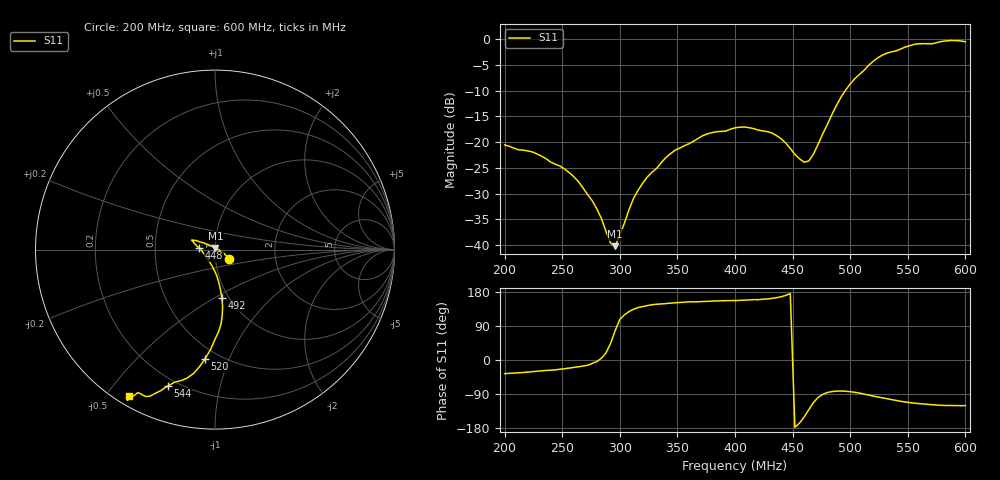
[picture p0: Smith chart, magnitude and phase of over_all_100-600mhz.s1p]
# HZ S RI R 50
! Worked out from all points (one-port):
!   101 points, 200 MHz to 600 MHz, reference 50 ohm
!   lowest |S11| = -40.2 dB at 296 MHz (marker M1), VSWR 1.02, Z = 50.2 + j0.958 ohm
!   |S11| at or under -10 dB: start of sweep to 495.7 MHz
!   S11 on the Smith chart (normalised r, x): 200 MHz: 1.16, -0.13; 448 MHz: 0.84, +0.01; 492 MHz: 0.93, -0.54; 520 MHz: 0.42, -0.82; 544 MHz: 0.16, -0.70; 600 MHz: 0.04, -0.57
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2e8  0.0761 -0.0551
2.24e8  0.069 -0.0411
2.52e8  0.0505 -0.0214
2.64e8  0.0394 -0.0127
2.76e8  0.0267 -0.0042
2.84e8  0.0181 0.00146
2.92e8  0.00755 0.00723
2.96e8  0.00204 0.00954
3e8  -0.00366 0.012
3.12e8  -0.0199 0.0205
3.2e8  -0.0313 0.0252
3.4e8  -0.0606 0.0366
3.52e8  -0.0772 0.0415
3.76e8  -0.1087 0.0513
4e8  -0.1267 0.054
4.32e8  -0.1169 0.0368
4.48e8  -0.0865 0.00721
4.52e8  -0.0759 -0.003
4.6e8  -0.0557 -0.0311
4.64e8  -0.0432 -0.0492
4.92e8  0.0385 -0.2705
5e8  0.0404 -0.3651
5.2e8  -0.0551 -0.6079
5.28e8  -0.1208 -0.6911
5.44e8  -0.2635 -0.76
5.52e8  -0.3335 -0.8015
5.8e8  -0.473 -0.8269
6e8  -0.4773 -0.8144
